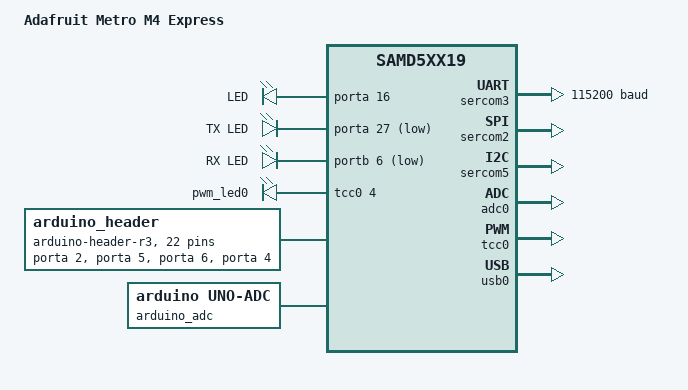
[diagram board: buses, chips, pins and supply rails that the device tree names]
/*
 * Copyright (c) 2020 Google LLC.
 * Copyright (c) 2022 Frank Dischner <frank.dischner@gmail.com>
 *
 * SPDX-License-Identifier: Apache-2.0
 */

/dts-v1/;
#include <atmel/samd5xx19.dtsi>
#include "adafruit_metro_m4_express-pinctrl.dtsi"

/ {
	model = "Adafruit Metro M4 Express";
	compatible = "adafruit,metro-m4-express";

	chosen {
		zephyr,console = &sercom3;
		zephyr,shell-uart = &sercom3;
		zephyr,sram = &sram0;
		zephyr,flash = &flash0;
		zephyr,code-partition = &code_partition;
	};

	/* These aliases are provided for compatibility with samples */
	aliases {
		led0 = &led0;
		pwm-led0 = &pwm_led0;
		pwm-0 = &tcc0;
	};

	leds {
		compatible = "gpio-leds";
		led0: led_0 {
			gpios = <&porta 16 GPIO_ACTIVE_HIGH>;
			label = "LED";
		};
		tx_led: tx_led {
			gpios = <&porta 27 GPIO_ACTIVE_LOW>;
			label = "TX LED";
		};
		rx_led: rx_led {
			gpios = <&portb 6 GPIO_ACTIVE_LOW>;
			label = "RX LED";
		};
	};

	pwmleds {
		compatible = "pwm-leds";
		pwm_led0: pwm_led_0 {
			pwms = <&tcc0 4 PWM_MSEC(20)>;
		};
	};

	arduino_header: arduino-connector {
		compatible = "arduino-header-r3";
		#gpio-cells = <2>;
		gpio-map-mask = <0xffffffff 0xffffffc0>;
		gpio-map-pass-thru = <0 0x3f>;
		gpio-map =	<0 0 &porta 2 0>,	/* A0 */
				<1 0 &porta 5 0>,	/* A1 */
				<2 0 &porta 6 0>,	/* A2 */
				<3 0 &porta 4 0>,	/* A3 */
				<4 0 &portb 8 0>,	/* A4 */
				<5 0 &portb 9 0>,	/* A5 */
				<6 0 &porta 23 0>,	/* D0 */
				<7 0 &porta 22 0>,	/* D1 */
				<8 0 &portb 17 0>,	/* D2 */
				<9 0 &portb 16 0>,	/* D3 */
				<10 0 &portb 13 0>,	/* D4 */
				<11 0 &portb 14 0>,	/* D5 */
				<12 0 &portb 15 0>,	/* D6 */
				<13 0 &portb 12 0>,	/* D7 */
				<14 0 &porta 21 0>,	/* D8 */
				<15 0 &porta 20 0>,	/* D9 */
				<16 0 &porta 18 0>,	/* D10 */
				<17 0 &porta 19 0>,	/* D11 */
				<18 0 &porta 17 0>,	/* D12 */
				<19 0 &porta 16 0>,	/* D13 */
				<20 0 &portb 2 0>,	/* D14 */
				<21 0 &portb 3 0>;	/* D15 */
	};

	arduino_adc: analog-connector {
		compatible = "arduino,uno-adc";
		#io-channel-cells = <1>;
		io-channel-map = <0 &adc0 0>,	/* A0 = PA02 = A0[0] */
				 <1 &adc0 5>,	/* A1 = PA05 = A0[5] */
				 <2 &adc0 6>,	/* A2 = PA06 = A0[6] */
				 <3 &adc0 4>,	/* A3 = PA04 = A0[4] */
				 <4 &adc0 2>,	/* A4 = PB08 = A0[2] */
				 <5 &adc0 3>;	/* A5 = PB09 = A0[3] */
	};
};

&cpu0 {
	clock-frequency = <120000000>;
};

arduino_serial: &sercom3 {
	status = "okay";
	compatible = "atmel,sam0-uart";
	current-speed = <115200>;
	rxpo = <1>;
	txpo = <0>;

	pinctrl-0 = <&sercom3_uart_default>;
	pinctrl-names = "default";
};

arduino_spi: &sercom2 {
	status = "okay";
	compatible = "atmel,sam0-spi";
	dipo = <2>;
	dopo = <0>;

	#address-cells = <1>;
	#size-cells = <0>;

	pinctrl-0 = <&sercom2_spi_default>;
	pinctrl-names = "default";
};

arduino_i2c: &sercom5 {
	status = "okay";
	compatible = "atmel,sam0-i2c";

	#address-cells = <1>;
	#size-cells = <0>;

	pinctrl-0 = <&sercom5_i2c_default>;
	pinctrl-names = "default";
};

&adc0 {
	status = "okay";
};

&tcc0 {
	status = "okay";
	compatible = "atmel,sam0-tcc-pwm";
	prescaler = <8>;
	#pwm-cells = <2>;

	pinctrl-0 = <&pwm0_default>;
	pinctrl-names = "default";
};

zephyr_udc0: &usb0 {
	status = "okay";

	pinctrl-0 = <&usb_dc_default>;
	pinctrl-names = "default";
};

&dmac {
	status = "okay";
};

&flash0 {
	partitions {
		compatible = "fixed-partitions";
		#address-cells = <1>;
		#size-cells = <1>;

		boot_partition: partition@0 {
			label = "uf2";
			reg = <0x00000000 DT_SIZE_K(16)>;
			read-only;
		};

		code_partition: partition@4000 {
			label = "code";
			reg = <0x4000 DT_SIZE_K(512-16-16)>;
			read-only;
		};

		/*
		 * The final 16 KiB is reserved for the application.
		 * Storage partition will be used by FCB/LittleFS/NVS
		 * if enabled.
		 */
		storage_partition: partition@7c000 {
			label = "storage";
			reg = <0x7c000 DT_SIZE_K(16)>;
		};
	};
};
